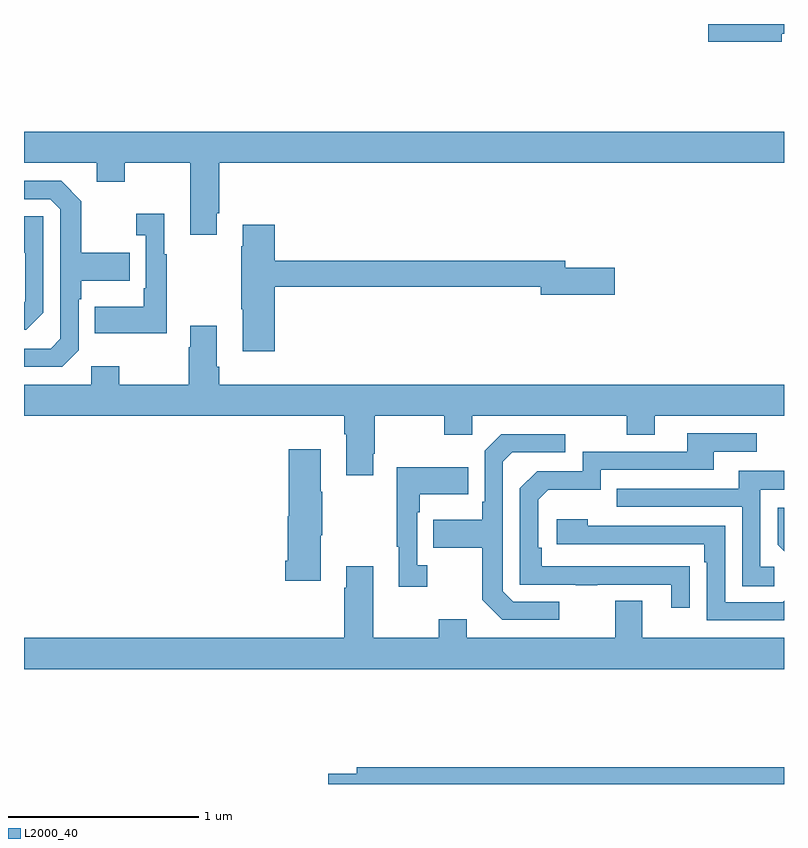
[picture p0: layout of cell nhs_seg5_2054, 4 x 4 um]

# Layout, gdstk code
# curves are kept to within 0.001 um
import gdstk
lib = gdstk.Library(unit=1e-6, precision=1e-09)
def P(c, l, *ps):  # polygons
    for p in ps: c.add(gdstk.Polygon(p, *l))
L2000_40 = (2000, 40)

nhs_seg5_2054 = lib.new_cell('nhs_seg5_2054')
P(nhs_seg5_2054, L2000_40, [(234.988,882.748),(235,882.748),(235,882.799),(234.6,882.799),(234.6,882.706),(234.988,882.706)],
  [(232.015,881.803),(232.028,881.803),(232.028,882.068),(235,882.068),(235,882.232),(231,882.232),(231,882.068),(231.383,882.068),(231.383,881.969),(231.531,881.969),(231.531,882.068),(231.875,882.068),(231.875,881.691),(232.015,881.691)],
  [(231.288,881.082),(231.288,881.351),(231.301,881.351),(231.301,881.447),(231.557,881.447),(231.557,881.595),(231.301,881.595),(231.301,881.867),(231.195,881.973),(231,881.973),(231,881.877),(231.138,881.877),(231.192,881.823),(231.192,881.142),(231.141,881.091),(231,881.091),(231,880.995),(231.201,880.995)],
  [(231.751,881.587),(231.739,881.587),(231.739,881.8),(231.591,881.8),(231.591,881.687),(231.642,881.687),(231.642,881.407),(231.63,881.407),(231.63,881.311),(231.373,881.311),(231.373,881.171),(231.751,881.171)],
  [(231.102,881.28),(231.102,881.787),(231,881.787),(231,881.594),(231.006,881.594),(231.006,881.34),(231,881.334),(231,881.19),(231.012,881.19)],
  [(232.319,881.416),(233.72,881.416),(233.72,881.374),(234.109,881.374),(234.109,881.516),(233.848,881.516),(233.848,881.552),(232.319,881.552),(232.319,881.743),(232.151,881.743),(232.151,881.63),(232.144,881.63),(232.144,881.299),(232.151,881.299),(232.151,881.076),(232.319,881.076)],
  [(232.837,880.537),(232.845,880.537),(232.845,880.736),(233.212,880.736),(233.212,880.637),(233.358,880.637),(233.358,880.736),(234.172,880.736),(234.172,880.637),(234.319,880.637),(234.319,880.736),(235,880.736),(235,880.9),(232.028,880.9),(232.028,880.996),(232.015,880.996),(232.015,881.212),(231.875,881.212),(231.875,881.099),(231.868,881.099),(231.868,880.9),(231.501,880.9),(231.501,880.999),(231.354,880.999),(231.354,880.9),(231,880.9),(231,880.736),(232.685,880.736),(232.685,880.64),(232.697,880.64),(232.697,880.425),(232.837,880.425)],
  [(234.503,879.944),(233.726,879.945),(233.726,880.042),(233.706,880.042),(233.706,880.296),(233.759,880.349),(234.036,880.349),(234.036,880.452),(234.631,880.452),(234.631,880.548),(234.856,880.548),(234.856,880.644),(234.491,880.644),(234.491,880.548),(233.94,880.548),(233.94,880.446),(233.7,880.446),(233.61,880.356),(233.61,879.849),(233.905,879.849),(233.905,879.844),(234.017,879.844),(234.017,879.849),(234.407,879.849),(234.407,879.726),(234.503,879.726)],
  [(233.818,879.759),(233.574,879.759),(233.52,879.813),(233.52,880.494),(233.571,880.545),(233.848,880.545),(233.848,880.641),(233.511,880.641),(233.424,880.554),(233.424,880.285),(233.412,880.285),(233.412,880.189),(233.155,880.189),(233.155,880.042),(233.412,880.042),(233.412,879.769),(233.517,879.663),(233.818,879.663)],
  [(232.561,880.109),(232.569,880.109),(232.569,880.337),(232.561,880.337),(232.561,880.561),(232.394,880.561),(232.394,880.209),(232.388,880.209),(232.388,879.973),(232.376,879.973),(232.376,879.869),(232.561,879.869)],
  [(233.122,879.95),(233.07,879.95),(233.07,880.229),(233.083,880.229),(233.083,880.325),(233.339,880.325),(233.339,880.465),(232.962,880.465),(232.962,880.049),(232.973,880.049),(232.973,879.837),(233.122,879.837)],
  [(234.949,879.942),(234.876,879.942),(234.876,880.347),(235,880.347),(235,880.447),(234.761,880.447),(234.761,880.353),(234.121,880.353),(234.121,880.257),(234.78,880.257),(234.78,879.841),(234.949,879.841)],
  [(235,880.252),(234.966,880.252),(234.966,880.058),(235,880.024)],
  [(235,879.763),(234.993,879.756),(234.69,879.756),(234.69,880.158),(233.966,880.158),(233.966,880.192),(233.805,880.192),(233.805,880.062),(234.581,880.062),(234.581,879.965),(234.594,879.965),(234.594,879.66),(235,879.66)],
  [(235,879.568),(234.253,879.568),(234.253,879.763),(234.113,879.763),(234.113,879.568),(233.329,879.568),(233.329,879.667),(233.182,879.667),(233.182,879.568),(232.837,879.568),(232.837,879.946),(232.697,879.946),(232.697,879.833),(232.685,879.833),(232.685,879.568),(231,879.568),(231,879.404),(235,879.404)],
  [(235,878.888),(232.751,878.888),(232.751,878.852),(232.602,878.852),(232.602,878.799),(235,878.799)])

lib.write_gds('nhs_seg5_2054.gds')
